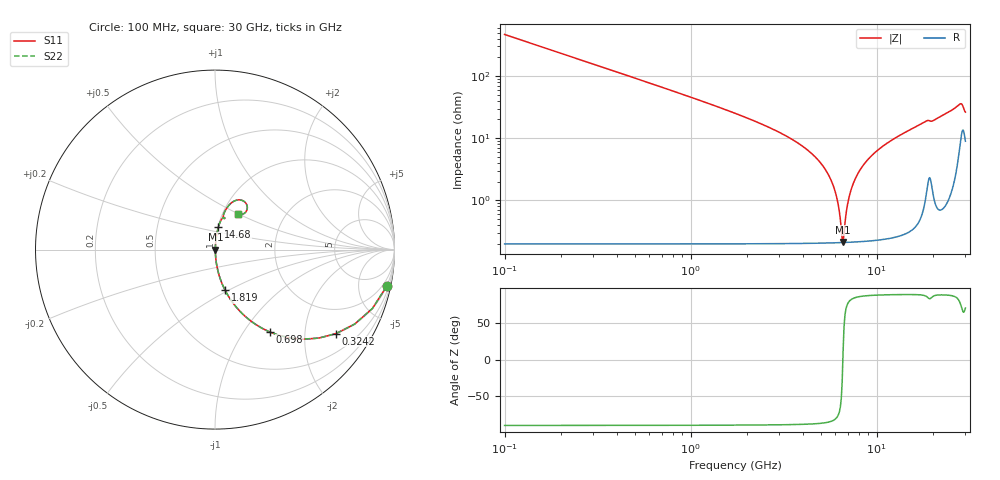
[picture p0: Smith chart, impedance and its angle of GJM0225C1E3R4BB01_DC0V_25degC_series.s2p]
!Murata Part Number: GJM0225C1E3R4BB01
!These Parameters are Measured in Series Mode Connection
!  o--ll--o
!Port1  Port2
!  o------o
!Operation Temp=25[degC], DC Bias Voltage=0[V]
!Freq. Start=100[MHz] Stop=30[GHz], 401[Steps]
!Data Generated on Feb 1, 2023
# Hz S RI R 50
!Freq.(Hz) S11(Real) S11(Imag) S21(Real) S21(Imag) S12(Real) S12(Imag) S22(Real) S22(Imag)
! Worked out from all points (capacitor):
!   401 points, 100 MHz to 30 GHz, reference 50 ohm
!   read as one part in series: C = 3.4 pF near 249.5 MHz
!   lowest |Z| = 212 mohm at 6.603 GHz (marker M1)
!   series resonance near 6.583 GHz, so ESL is about 170 pH
!   S11 on the Smith chart (normalised r, x): 100 MHz: 1.00, -9.36; 324.2 MHz: 1.00, -2.88; 698 MHz: 1.00, -1.33; 1.819 GHz: 1.00, -0.48; 14.68 GHz: 1.01, +0.26; 30 GHz: 1.18, +0.49
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1e8  0.9563 -0.2043  0.0437 0.2043  0.0437 0.2043  0.9563 -0.2043
3.2425e8  0.6745 -0.4679  0.3255 0.4679  0.3255 0.4679  0.6745 -0.4679
6.98e8  0.306 -0.4593  0.694 0.4593  0.694 0.4593  0.306 -0.4593
1.1465e9  0.1368 -0.3411  0.8632 0.3411  0.8632 0.3411  0.1368 -0.3411
1.81925e9  0.0552 -0.2242  0.9448 0.2242  0.9448 0.2242  0.0552 -0.2242
5.10825e9  0.00335 -0.0363  0.9966 0.0363  0.9966 0.0363  0.00335 -0.0363
5.9305e9  0.00227 -0.0149  0.9977 0.0149  0.9977 0.0149  0.00227 -0.0149
6.2295e9  0.00212 -0.00785  0.9979 0.00785  0.9979 0.00785  0.00212 -0.00785
6.45375e9  0.00208 -0.00282  0.9979 0.00282  0.9979 0.00282  0.00208 -0.00282
6.60325e9  0.00207 0.000436  0.9979 -0.000436  0.9979 -0.000436  0.00207 0.000436
6.678e9  0.00208 0.00204  0.9979 -0.00204  0.9979 -0.00204  0.00208 0.00204
6.90225e9  0.00213 0.00674  0.9979 -0.00674  0.9979 -0.00674  0.00213 0.00674
7.1265e9  0.00222 0.0113  0.9978 -0.0113  0.9978 -0.0113  0.00222 0.0113
7.64975e9  0.00258 0.0215  0.9974 -0.0215  0.9974 -0.0215  0.00258 0.0215
8.6215e9  0.00368 0.0389  0.9963 -0.0389  0.9963 -0.0389  0.00368 0.0389
1.01165e10  0.00627 0.0631  0.9937 -0.0631  0.9937 -0.0631  0.00627 0.0631
1.467625e10  0.0195 0.1272  0.9805 -0.1272  0.9805 -0.1272  0.0195 0.1272
1.505e10  0.0209 0.1322  0.9791 -0.1322  0.9791 -0.1322  0.0209 0.1322
2.005825e10  0.0465 0.179  0.9535 -0.179  0.9535 -0.179  0.0465 0.179
2.50665e10  0.0808 0.2504  0.9192 -0.2504  0.9192 -0.2504  0.0808 0.2504
2.8206e10  0.1641 0.2669  0.8359 -0.2669  0.8359 -0.2669  0.1641 0.2669
3e10  0.1268 0.1983  0.8732 -0.1983  0.8732 -0.1983  0.1268 0.1983
